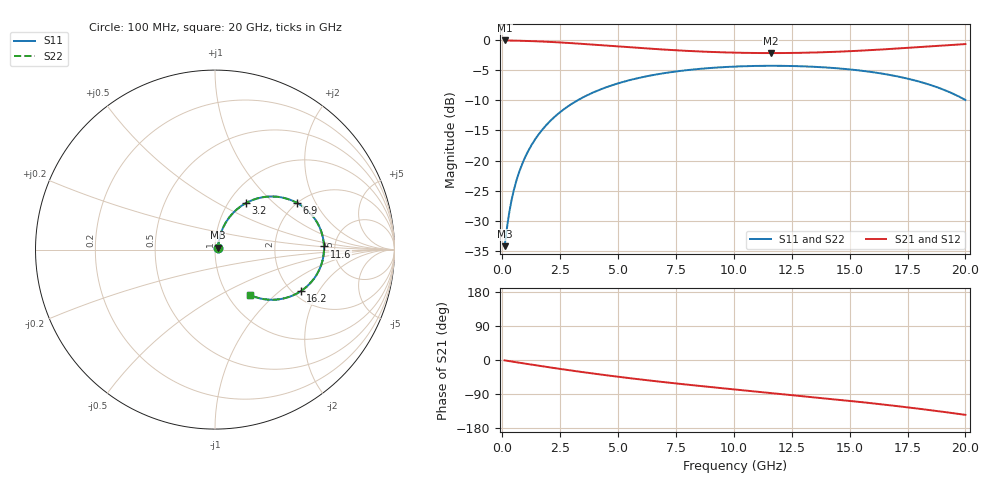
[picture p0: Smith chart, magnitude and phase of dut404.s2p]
! Touchstone file exported from HFSS 2026.1.0
!  File:  C:/ffzhzh/LocalFiles/Ansys_Project_Files/temp_train_TSV_RDL_404_1783093058_46604.aedt
!  Generated:  11:49:01 PM Jul  3, 2026
!  Design:  TSV_RDL
!  Project:  temp_train_TSV_RDL_404_1783093058_46604
! Variables:
!  h_bsmrdl = 5.11um
!  h_ox = 20um
!  h_rdl = 5um
!  h_sub = 56.69um
!  h_tmrdl = 2.14um
!  h_tsv = 56.69um
!  h_via = 3um
!  l_bsmrdl = 408.51um
!  l_sub = 2665.73um
!  l_tmrdl = 231.58um
!  m_sub = 200um
!  pitch = 51.82um
!  r_tsv = 4.55um
!  s_tmrdl = 10um
!  w_bsmrdl = 20.6um
!  w_sub = 500um
!  w_tmrdl = 17.36um
!  x_tsv_center1 = 240.26um
!  x_tsv_center2 = 669.37um
!  x_tsv_center3 = 918.31um
!  x_tsv_center4 = 1347.42um
!  x_tsv_center5 = 1596.36um
!  x_tsv_center6 = 2025.47um
# GHz S MA R 50.000000
! Terminal data exported
! Port[1] = TM_RDL1_1_T1
! Port[2] = TM_RDL5_1_T1
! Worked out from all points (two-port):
!   200 points, 100 MHz to 20 GHz, reference 50 ohm
!   highest |S21| = -0.14 dB at 100 MHz (marker M1); lowest = -2.2 dB at 11.6 GHz (marker M2)
!   |S21| within 3 dB of the highest: start of sweep to end of sweep
!   lowest |S11| = -34.1 dB at 100 MHz (marker M3), VSWR 1.04, Z = 51.6 + j1.13 ohm
!   |S11| at or under -10 dB: start of sweep to 3.267 GHz
!   |S22| runs from -34.1 to -4.3 dB; largest |S21 - S12| = 3.9e-13
!   S11 on the Smith chart (normalised r, x): 100 MHz: 1.03, +0.02; 3.2 GHz: 1.20, +0.69; 6.9 GHz: 1.99, +1.43; 11.6 GHz: 4.08, +0.23; 16.2 GHz: 2.20, -1.42; 20 GHz: 1.26, -0.70
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0.1  0.01965 33.9  0.9838 -1.0  0.9838 -1.0  0.01965 33.9
! Gamma 0 0 0 0
! Port Impedance 50 0 50 0
0.3  0.03724 60.1  0.9826 -3.0  0.9826 -3.0  0.03724 60.1
0.5  0.05727 67.2  0.9809 -4.9  0.9809 -4.9  0.05727 67.2
0.8  0.08775 70.2  0.9779 -7.8  0.9779 -7.8  0.08775 70.2
1.1  0.1181 70.2  0.9742 -10.6  0.9742 -10.6  0.1181 70.2
1.5  0.158 68.5  0.968 -14.4  0.968 -14.4  0.158 68.5
2  0.2061 65.4  0.9585 -19.0  0.9585 -19.0  0.2061 65.4
2.6  0.2606 61.0  0.9447 -24.4  0.9447 -24.4  0.2606 61.0
3.2  0.3109 56.4  0.929 -29.7  0.929 -29.7  0.3109 56.4
3.5  0.3344 54.1  0.9207 -32.2  0.9207 -32.2  0.3344 54.1
5.1  0.4408 42.1  0.8751 -45.0  0.8751 -45.0  0.4408 42.1
6.8  0.521 30.5  0.8312 -57.2  0.8312 -57.2  0.521 30.5
6.9  0.5248 29.8  0.8289 -57.9  0.8289 -57.9  0.5248 29.8
8.5  0.5726 19.8  0.7982 -68.3  0.7982 -68.3  0.5726 19.8
10.1  0.5993 10.3  0.7795 -78.1  0.7795 -78.1  0.5993 10.3
11.6  0.6076 1.7  0.7737 -87.0  0.7737 -87.0  0.6076 1.7
13.4  0.5969 -8.7  0.7817 -97.8  0.7817 -97.8  0.5969 -8.7
14.8  0.5722 -17.1  0.7988 -106.5  0.7988 -106.5  0.5722 -17.1
16.2  0.5311 -25.9  0.8246 -115.7  0.8246 -115.7  0.5311 -25.8
16.7  0.512 -29.1  0.8356 -119.2  0.8356 -119.2  0.512 -29.1
18.4  0.4272 -40.9  0.8778 -131.7  0.8778 -131.7  0.4272 -40.9
20  0.3172 -52.6  0.9185 -144.8  0.9185 -144.8  0.3172 -52.5
